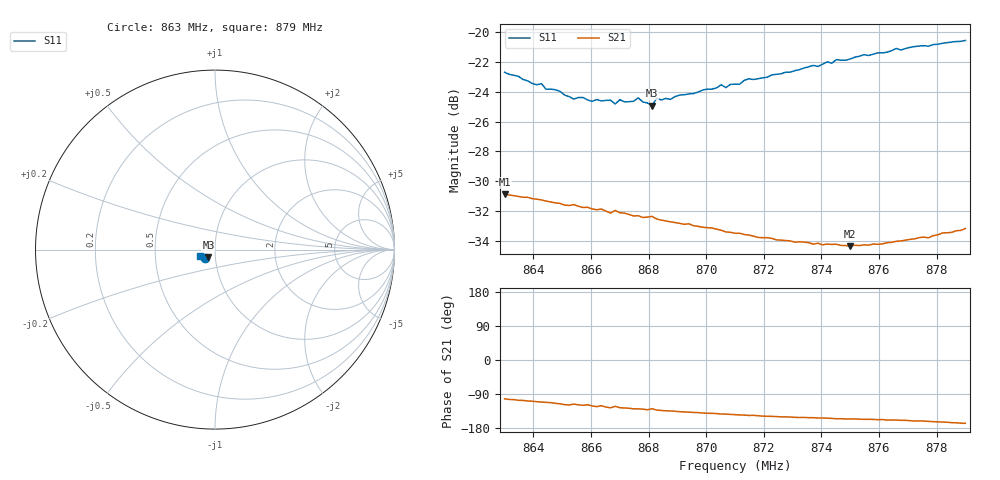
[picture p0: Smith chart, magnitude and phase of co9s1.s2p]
# HZ S RI R 50
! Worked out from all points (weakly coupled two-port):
!   101 points, 863 MHz to 879 MHz, reference 50 ohm
!   highest |S21| = -30.89 dB at 863 MHz (marker M1); lowest = -34.4 dB at 875 MHz (marker M2)
!   lowest |S11| = -24.9 dB at 868.12 MHz (marker M3), VSWR 1.12, Z = 46.3 - j4.03 ohm
!   |S11| at or under -10 dB: start of sweep to end of sweep
!   S12 and S22 are empty: the file has one direction only
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8.63e8  -0.0584 -0.0443  -0.00616 -0.0279  0 0  0 0
8.6396e8  -0.0529 -0.0415  -0.00888 -0.0262  0 0  0 0
8.6428e8  -0.0518 -0.0427  -0.00977 -0.0255  0 0  0 0
8.6444e8  -0.0503 -0.0401  -0.0101 -0.0252  0 0  0 0
8.6492e8  -0.0492 -0.0399  -0.0114 -0.024  0 0  0 0
8.654e8  -0.0441 -0.0401  -0.0117 -0.0236  0 0  0 0
8.6572e8  -0.0457 -0.0393  -0.0127 -0.0225  0 0  0 0
8.6604e8  -0.0429 -0.0399  -0.0132 -0.0218  0 0  0 0
8.6668e8  -0.0422 -0.0414  -0.0146 -0.02  0 0  0 0
8.6684e8  -0.039 -0.0421  -0.0134 -0.0213  0 0  0 0
8.67e8  -0.0433 -0.0406  -0.0145 -0.0201  0 0  0 0
8.6732e8  -0.0407 -0.0419  -0.0148 -0.0194  0 0  0 0
8.6764e8  -0.0418 -0.0433  -0.0152 -0.0188  0 0  0 0
8.6812e8  -0.0364 -0.0434  -0.015 -0.0188  0 0  0 0
8.6828e8  -0.0398 -0.045  -0.0159 -0.0175  0 0  0 0
8.6844e8  -0.0398 -0.0438  -0.016 -0.0171  0 0  0 0
8.71e8  -0.0429 -0.0514  -0.0172 -0.0124  0 0  0 0
8.7372e8  -0.0533 -0.056  -0.0172 -0.00907  0 0  0 0
8.75e8  -0.0615 -0.0531  -0.0174 -0.00791  0 0  0 0
8.7644e8  -0.0704 -0.0505  -0.0183 -0.00718  0 0  0 0
8.7772e8  -0.0781 -0.0441  -0.0194 -0.00631  0 0  0 0
8.79e8  -0.0862 -0.0369  -0.0214 -0.00489  0 0  0 0
